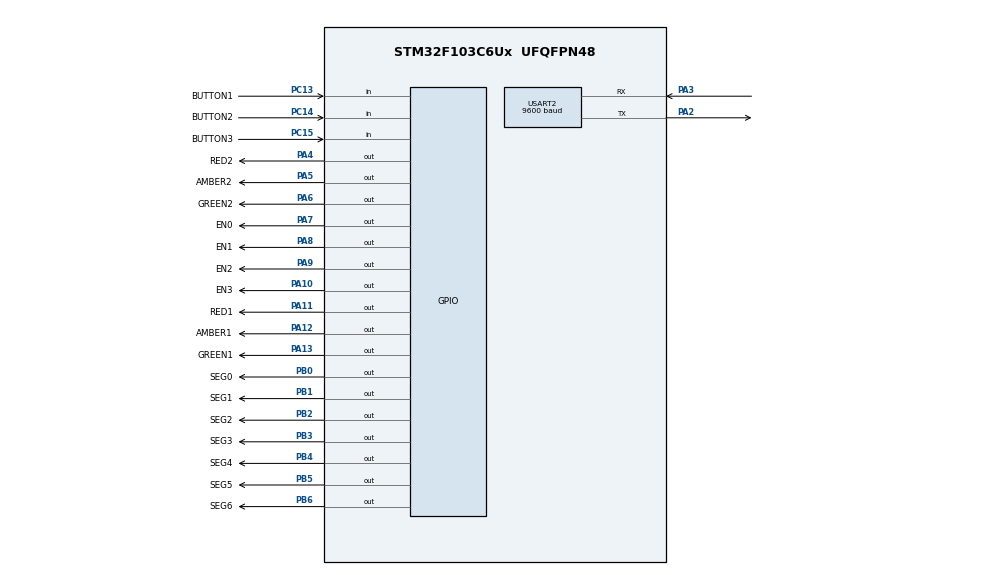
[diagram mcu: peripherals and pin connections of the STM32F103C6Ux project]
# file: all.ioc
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Mcu.Family=STM32F1
Mcu.Name=STM32F103C6Ux
Mcu.Package=UFQFPN48
NVIC.PriorityGroup=NVIC_PRIORITYGROUP_4
NVIC.TIM2_IRQn=true\:0\:0\:false\:false\:true\:true\:true
NVIC.USART2_IRQn=true\:0\:0\:false\:false\:true\:true\:true
PA10.GPIO_Label=EN3
PA10.Signal=GPIO_Output
PA11.GPIO_Label=RED1
PA11.Signal=GPIO_Output
PA12.GPIO_Label=AMBER1
PA12.Signal=GPIO_Output
PA13.GPIO_Label=GREEN1
PA13.Signal=GPIO_Output
PA2.Mode=Asynchronous
PA2.Signal=USART2_TX
PA3.Mode=Asynchronous
PA3.Signal=USART2_RX
PA4.GPIO_Label=RED2
PA4.Signal=GPIO_Output
PA5.GPIO_Label=AMBER2
PA5.Signal=GPIO_Output
PA6.GPIO_Label=GREEN2
PA6.Signal=GPIO_Output
PA7.GPIO_Label=EN0
PA7.Signal=GPIO_Output
PA8.GPIO_Label=EN1
PA8.Signal=GPIO_Output
PA9.GPIO_Label=EN2
PA9.Signal=GPIO_Output
PB0.GPIO_Label=SEG0
PB0.Signal=GPIO_Output
PB1.GPIO_Label=SEG1
PB1.Signal=GPIO_Output
PB2.GPIO_Label=SEG2
PB2.Signal=GPIO_Output
PB3.GPIO_Label=SEG3
PB3.Signal=GPIO_Output
PB4.GPIO_Label=SEG4
PB4.Signal=GPIO_Output
PB5.GPIO_Label=SEG5
PB5.Signal=GPIO_Output
PB6.GPIO_Label=SEG6
PB6.Signal=GPIO_Output
PC13-TAMPER-RTC.GPIO_Label=BUTTON1
PC13-TAMPER-RTC.GPIO_PuPd=GPIO_PULLUP
PC13-TAMPER-RTC.Signal=GPIO_Input
PC14-OSC32_IN.GPIO_Label=BUTTON2
PC14-OSC32_IN.GPIO_PuPd=GPIO_PULLUP
PC14-OSC32_IN.Signal=GPIO_Input
PC15-OSC32_OUT.GPIO_Label=BUTTON3
PC15-OSC32_OUT.GPIO_PuPd=GPIO_PULLUP
PC15-OSC32_OUT.Signal=GPIO_Input
ProjectManager.HeapSize=0x200
ProjectManager.StackSize=0x400
ProjectManager.TargetToolchain=STM32CubeIDE
RCC.APB1Freq_Value=8000000
RCC.APB2Freq_Value=8000000
TIM2.Period=9
TIM2.Prescaler=7999
USART2.BaudRate=9600
USART2.VirtualMode=VM_ASYNC
VP_SYS_VS_ND.Mode=No_Debug
VP_TIM2_VS_ClockSourceINT.Mode=Internal
board=custom

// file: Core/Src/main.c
/* USER CODE BEGIN Header */
/**
  ******************************************************************************
  * @file           : main.c
  * @brief          : Main program body
  ******************************************************************************
  * @attention
  *
  * <h2><center>&copy; Copyright (c) 2023 STMicroelectronics.
  * All rights reserved.</center></h2>
  *
  * This software component is licensed by ST under BSD 3-Clause license,
  * the "License"; You may not use this file except in compliance with the
  * License. You may obtain a copy of the License at:
  *                        opensource.org/licenses/BSD-3-Clause
  *
  ******************************************************************************
  */
/* USER CODE END Header */
#include "main.h"
#include "global.h"
#include "scheduler.h"

TIM_HandleTypeDef htim2;

UART_HandleTypeDef huart2;

void SystemClock_Config(void);
static void MX_GPIO_Init(void);
static void MX_TIM2_Init(void);
static void MX_USART2_UART_Init(void);

/* USER CODE BEGIN 0 */
uint8_t temp = 0;
void HAL_UART_RxCpltCallback(UART_HandleTypeDef *huart){
	if(huart->Instance == USART2){
		HAL_UART_Transmit(&huart2, &temp, 1, 50);
		HAL_UART_Receive_IT(&huart2, &temp, 1);
	}
}
/* USER CODE END 0 */

int main(void)
{

  /* MCU Configuration--------------------------------------------------------*/

  /* Reset of all peripherals, Initializes the Flash interface and the Systick. */
  HAL_Init();

  /* Configure the system clock */
  SystemClock_Config();

  /* Initialize all configured peripherals */
  MX_GPIO_Init();
  MX_TIM2_Init();
  MX_USART2_UART_Init();
  /* USER CODE BEGIN 2 */
  HAL_TIM_Base_Start_IT(&htim2);
  /* USER CODE END 2 */

  /* Infinite loop */
  /* USER CODE BEGIN WHILE */
  SCH_Init();
  initialize();
  SCH_Add_Task(routine_1sec, 100, 100);
  SCH_Add_Task(scan7SEG, 100, 5);
  SCH_Add_Task(blinkLEDs, 100, 25);
  SCH_Add_Task(button_signal, 100, 1);
  while (1)
  {
//	  fsm_automatic_run();
//	  fsm_manual_run();
//	  fsm_for_input_processing();
	  SCH_Dispatch_Tasks();
    /* USER CODE END WHILE */

  }
}

void SystemClock_Config(void)
{
  RCC_OscInitTypeDef RCC_OscInitStruct = {0};
  RCC_ClkInitTypeDef RCC_ClkInitStruct = {0};

  /** Initializes the RCC Oscillators according to the specified parameters
  * in the RCC_OscInitTypeDef structure.
  */
  RCC_OscInitStruct.OscillatorType = RCC_OSCILLATORTYPE_HSI;
  RCC_OscInitStruct.HSIState = RCC_HSI_ON;
  RCC_OscInitStruct.HSICalibrationValue = RCC_HSICALIBRATION_DEFAULT;
  RCC_OscInitStruct.PLL.PLLState = RCC_PLL_NONE;
  if (HAL_RCC_OscConfig(&RCC_OscInitStruct) != HAL_OK)
  {
    Error_Handler();
  }
  /** Initializes the CPU, AHB and APB buses clocks
  */
  RCC_ClkInitStruct.ClockType = RCC_CLOCKTYPE_HCLK|RCC_CLOCKTYPE_SYSCLK
                              |RCC_CLOCKTYPE_PCLK1|RCC_CLOCKTYPE_PCLK2;
  RCC_ClkInitStruct.SYSCLKSource = RCC_SYSCLKSOURCE_HSI;
  RCC_ClkInitStruct.AHBCLKDivider = RCC_SYSCLK_DIV1;
  RCC_ClkInitStruct.APB1CLKDivider = RCC_HCLK_DIV1;
  RCC_ClkInitStruct.APB2CLKDivider = RCC_HCLK_DIV1;

  if (HAL_RCC_ClockConfig(&RCC_ClkInitStruct, FLASH_LATENCY_0) != HAL_OK)
  {
    Error_Handler();
  }
}

static void MX_TIM2_Init(void)
{

  TIM_ClockConfigTypeDef sClockSourceConfig = {0};
  TIM_MasterConfigTypeDef sMasterConfig = {0};

  htim2.Instance = TIM2;
  htim2.Init.Prescaler = 7999;
  htim2.Init.CounterMode = TIM_COUNTERMODE_UP;
  htim2.Init.Period = 9;
  htim2.Init.ClockDivision = TIM_CLOCKDIVISION_DIV1;
  htim2.Init.AutoReloadPreload = TIM_AUTORELOAD_PRELOAD_DISABLE;
  if (HAL_TIM_Base_Init(&htim2) != HAL_OK)
  {
    Error_Handler();
  }
  sClockSourceConfig.ClockSource = TIM_CLOCKSOURCE_INTERNAL;
  if (HAL_TIM_ConfigClockSource(&htim2, &sClockSourceConfig) != HAL_OK)
  {
    Error_Handler();
  }
  sMasterConfig.MasterOutputTrigger = TIM_TRGO_RESET;
  sMasterConfig.MasterSlaveMode = TIM_MASTERSLAVEMODE_DISABLE;
  if (HAL_TIMEx_MasterConfigSynchronization(&htim2, &sMasterConfig) != HAL_OK)
  {
    Error_Handler();
  }

}

static void MX_USART2_UART_Init(void)
{

  huart2.Instance = USART2;
  huart2.Init.BaudRate = 9600;
  huart2.Init.WordLength = UART_WORDLENGTH_8B;
  huart2.Init.StopBits = UART_STOPBITS_1;
  huart2.Init.Parity = UART_PARITY_NONE;
  huart2.Init.Mode = UART_MODE_TX_RX;
  huart2.Init.HwFlowCtl = UART_HWCONTROL_NONE;
  huart2.Init.OverSampling = UART_OVERSAMPLING_16;
  if (HAL_UART_Init(&huart2) != HAL_OK)
  {
    Error_Handler();
  }

}

static void MX_GPIO_Init(void)
{
  GPIO_InitTypeDef GPIO_InitStruct = {0};

  /* GPIO Ports Clock Enable */
  __HAL_RCC_GPIOC_CLK_ENABLE();
  __HAL_RCC_GPIOA_CLK_ENABLE();
  __HAL_RCC_GPIOB_CLK_ENABLE();

  /*Configure GPIO pin Output Level */
  HAL_GPIO_WritePin(GPIOA, RED2_Pin|AMBER2_Pin|GREEN2_Pin|EN0_Pin
                          |EN1_Pin|EN2_Pin|EN3_Pin|RED1_Pin
                          |AMBER1_Pin|GREEN1_Pin, GPIO_PIN_RESET);

  /*Configure GPIO pin Output Level */
  HAL_GPIO_WritePin(GPIOB, SEG0_Pin|SEG1_Pin|SEG2_Pin|SEG3_Pin
                          |SEG4_Pin|SEG5_Pin|SEG6_Pin, GPIO_PIN_RESET);

  /*Configure GPIO pins : BUTTON1_Pin BUTTON2_Pin BUTTON3_Pin */
  GPIO_InitStruct.Pin = BUTTON1_Pin|BUTTON2_Pin|BUTTON3_Pin;
  GPIO_InitStruct.Mode = GPIO_MODE_INPUT;
  GPIO_InitStruct.Pull = GPIO_PULLUP;
  HAL_GPIO_Init(GPIOC, &GPIO_InitStruct);

  /*Configure GPIO pins : RED2_Pin AMBER2_Pin GREEN2_Pin EN0_Pin
                           EN1_Pin EN2_Pin EN3_Pin RED1_Pin
                           AMBER1_Pin GREEN1_Pin */
  GPIO_InitStruct.Pin = RED2_Pin|AMBER2_Pin|GREEN2_Pin|EN0_Pin
                          |EN1_Pin|EN2_Pin|EN3_Pin|RED1_Pin
                          |AMBER1_Pin|GREEN1_Pin;
  GPIO_InitStruct.Mode = GPIO_MODE_OUTPUT_PP;
  GPIO_InitStruct.Pull = GPIO_NOPULL;
  GPIO_InitStruct.Speed = GPIO_SPEED_FREQ_LOW;
  HAL_GPIO_Init(GPIOA, &GPIO_InitStruct);

  /*Configure GPIO pins : SEG0_Pin SEG1_Pin SEG2_Pin SEG3_Pin
                           SEG4_Pin SEG5_Pin SEG6_Pin */
  GPIO_InitStruct.Pin = SEG0_Pin|SEG1_Pin|SEG2_Pin|SEG3_Pin
                          |SEG4_Pin|SEG5_Pin|SEG6_Pin;
  GPIO_InitStruct.Mode = GPIO_MODE_OUTPUT_PP;
  GPIO_InitStruct.Pull = GPIO_NOPULL;
  GPIO_InitStruct.Speed = GPIO_SPEED_FREQ_LOW;
  HAL_GPIO_Init(GPIOB, &GPIO_InitStruct);

}

/* USER CODE BEGIN 4 */
void HAL_TIM_PeriodElapsedCallback(TIM_HandleTypeDef *htim){
//	timerRun();
//	button_reading();
	SCH_Update();
	getKeyInput();
}
/* USER CODE END 4 */

void Error_Handler(void)
{
  __disable_irq();
  while (1)
  {
  }
}

/************************ (C) COPYRIGHT STMicroelectronics *****END OF FILE****/
